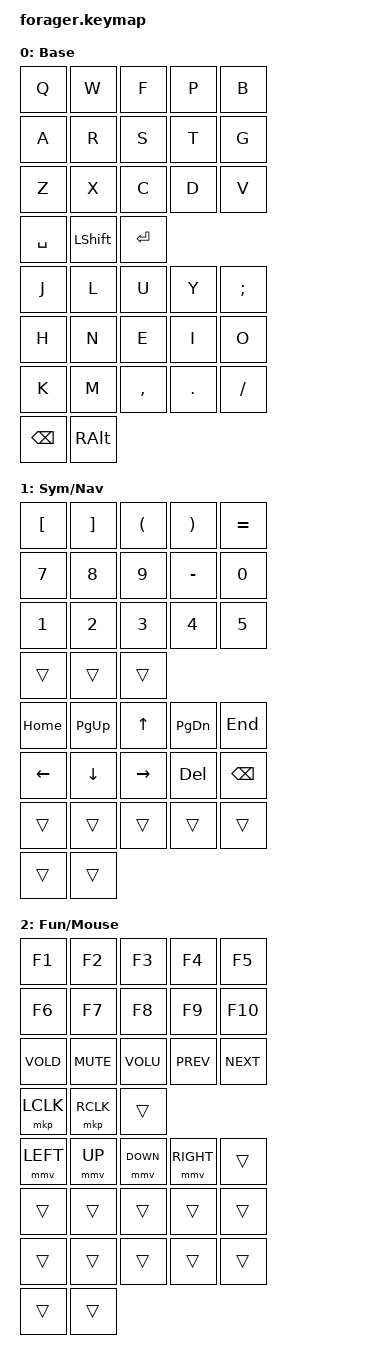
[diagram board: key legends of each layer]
/ {
    keymap {
        compatible = "zmk,keymap";

        /* ============================================================
         *  BASE LAYER — MINI-RYOKU (Colemak-DH)
         * ========================================================== */
        base {
            display-name = "Base";
            bindings = <
                /* LEFT HALF 0–16 */
                &kp Q      &kp W      &kp F      &kp P      &kp B
                &kp A      &kp R      &kp S      &kp T      &kp G
                &kp Z      &kp X      &kp C      &kp D      &kp V
                &kp SPACE  &kp LSHIFT &kp ENTER

                /* RIGHT HALF 17–33 */
                &kp J      &kp L      &kp U      &kp Y      &kp SEMICOLON
                &kp H      &kp N      &kp E      &kp I      &kp O
                &kp K      &kp M      &kp COMMA  &kp DOT    &kp SLASH
                &kp BSPC   &kp RALT
            >;
        };

        /* ============================================================
         *  SYMBOL / NAVIGATION LAYER (Layer 1)
         * ========================================================== */
        sym_nav {
            display-name = "Sym/Nav";
            bindings = <
                /* LEFT HALF */
                &kp LBKT   &kp RBKT   &kp LPAR   &kp RPAR   &kp EQUAL
                &kp N7     &kp N8     &kp N9     &kp MINUS  &kp N0
                &kp N1     &kp N2     &kp N3     &kp N4     &kp N5
                &trans     &trans     &trans

                /* RIGHT HALF */
                &kp HOME   &kp PG_UP  &kp UP     &kp PG_DN   &kp END
                &kp LEFT   &kp DOWN   &kp RIGHT  &kp DELETE  &kp BSPC
                &trans     &trans     &trans     &trans      &trans
                &trans     &trans
            >;
        };

        /* ============================================================
         *  FUNCTION / MEDIA / MOUSE LAYER (Layer 2)
         * ========================================================== */
        fun_mouse {
            display-name = "Fun/Mouse";
            bindings = <
                /* LEFT HALF */
                &kp F1     &kp F2     &kp F3     &kp F4       &kp F5
                &kp F6     &kp F7     &kp F8     &kp F9       &kp F10
                &kp VOLD   &kp MUTE   &kp VOLU   &kp C_PREV   &kp C_NEXT
                &mkp LCLK  &mkp RCLK  &trans

                /* RIGHT HALF */
                &mmv LEFT  &mmv UP    &mmv DOWN  &mmv RIGHT   &trans
                &trans     &trans     &trans     &trans       &trans
                &trans     &trans     &trans     &trans       &trans
                &trans     &trans
            >;
        };

        /* ============================================================
         *  COMBOS
         * ========================================================== */
        combos {
            compatible = "zmk,combos";

            combo_esc {
                timeout-ms = <30>;
                key-positions = <1 2>; /* W + F */
                bindings = <&kp ESC>;
            };

            combo_excl {
                timeout-ms = <30>;
                key-positions = <2 3>; /* F + P */
                bindings = <&kp EXCL>;
            };

            combo_minus {
                timeout-ms = <30>;
                key-positions = <20 22>; /* L + U */
                bindings = <&kp MINUS>;
            };

            combo_quote {
                timeout-ms = <30>;
                key-positions = <22 23>; /* U + Y */
                bindings = <&kp SQT>;
            };

            combo_caps {
                timeout-ms = <30>;
                key-positions = <1 2 3>; /* W + F + P */
                bindings = <&kp CAPSLOCK>;
            };

            combo_layer_sym {
                timeout-ms = <30>;
                key-positions = <27 28 29>; /* H + , + . */
                bindings = <&tog 1>;
            };

            combo_layer_fn {
                timeout-ms = <30>;
                key-positions = <20 22 23>; /* L + U + Y */
                bindings = <&tog 2>;
            };
        };
    };
};
